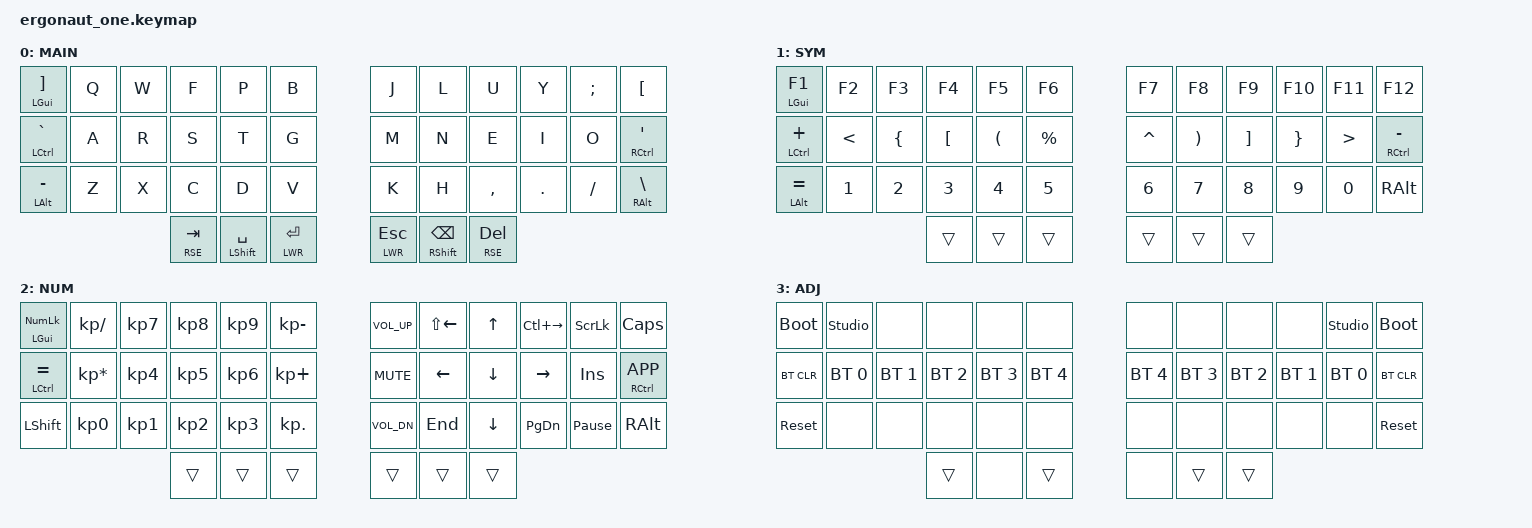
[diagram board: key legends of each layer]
#include <behaviors.dtsi>
#include <dt-bindings/zmk/bt.h>
#include <dt-bindings/zmk/keys.h>

#define DEF 0
#define LWR 1
#define RSE 2
#define ADJ 3

&lt { quick-tap-ms = <200>; };

&mt { quick-tap-ms = <200>; };

/ {
    conditional_layers {
        compatible = "zmk,conditional-layers";

        tri-layer {
            if-layers = <LWR RSE>;
            then-layer = <ADJ>;
        };
    };

    keymap {
        compatible = "zmk,keymap";

        default_layer {
            display-name = "MAIN";
            bindings = <
&mt LGUI RBKT    &kp Q  &kp W  &kp F        &kp P            &kp B        &kp J        &kp L           &kp U        &kp Y    &kp SEMICOLON  &kp LBKT
&mt LCTRL GRAVE  &kp A  &kp R  &kp S        &kp T            &kp G        &kp M        &kp N           &kp E        &kp I    &kp O          &mt RCTRL SQT
&mt LALT MINUS   &kp Z  &kp X  &kp C        &kp D            &kp V        &kp K        &kp H           &kp COMMA    &kp DOT  &kp FSLH       &mt RALT BSLH
                               &lt RSE TAB  &mt LSHFT SPACE  &lt LWR RET  &lt LWR ESC  &mt RSHFT BSPC  &lt RSE DEL
            >;
        };

        lower_layer {
            display-name = "SYM";
            bindings = <
&mt LGUI F1     &kp F2         &kp F3          &kp F4            &kp F5                &kp F6     &kp F7     &kp F8                 &kp F9             &kp F10          &kp F11           &kp F12
&mt LCTRL PLUS  &kp LESS_THAN  &kp LEFT_BRACE  &kp LEFT_BRACKET  &kp LEFT_PARENTHESIS  &kp PRCNT  &kp CARET  &kp RIGHT_PARENTHESIS  &kp RIGHT_BRACKET  &kp RIGHT_BRACE  &kp GREATER_THAN  &mt RCTRL MINUS
&mt LALT EQUAL  &kp N1         &kp N2          &kp N3            &kp N4                &kp N5     &kp N6     &kp N7                 &kp N8             &kp N9           &kp N0            &kp RALT
                                               &trans            &trans                &trans     &trans     &trans                 &trans
            >;
        };

        raise_layer {
            display-name = "NUM";
            bindings = <
&mt LGUI KP_NUM  &kp KP_SLASH     &kp KP_N7  &kp KP_N8  &kp KP_N9  &kp KP_MINUS  &kp C_VOL_UP  &kp LS(LEFT)  &kp UP_ARROW    &kp LC(RIGHT)  &kp SLCK         &kp CLCK
&mt LCTRL EQUAL  &kp KP_MULTIPLY  &kp KP_N4  &kp KP_N5  &kp KP_N6  &kp KP_PLUS   &kp C_MUTE    &kp LEFT      &kp DOWN_ARROW  &kp RIGHT      &kp INS          &mt RCTRL K_APP
&kp LEFT_SHIFT   &kp KP_N0        &kp KP_N1  &kp KP_N2  &kp KP_N3  &kp KP_DOT    &kp C_VOL_DN  &kp END       &kp DOWN        &kp PG_DN      &kp PAUSE_BREAK  &kp RALT
                                             &trans     &trans     &trans        &trans        &trans        &trans
            >;
        };

        adjust_layer {
            display-name = "ADJ";
            bindings = <
&bootloader  &studio_unlock  &none         &none         &none         &none         &none         &none         &none         &none         &studio_unlock  &bootloader
&bt BT_CLR   &bt BT_SEL 0    &bt BT_SEL 1  &bt BT_SEL 2  &bt BT_SEL 3  &bt BT_SEL 4  &bt BT_SEL 4  &bt BT_SEL 3  &bt BT_SEL 2  &bt BT_SEL 1  &bt BT_SEL 0    &bt BT_CLR
&sys_reset   &none           &none         &none         &none         &none         &none         &none         &none         &none         &none           &sys_reset
                                           &trans        &none         &trans        &none         &trans        &trans
            >;
        };
    };
};
